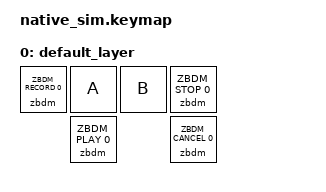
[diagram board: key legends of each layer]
/*
 * Copyright (c) 2026 The ZMK Behavior Dynamic Macro Contributors
 *
 * SPDX-License-Identifier: MIT
 */

#include <dt-bindings/zmk/keys.h>
#include <behaviors.dtsi>
#include <behaviors/zbdm.dtsi>
#include <dt-bindings/zmk/kscan_mock.h>
#include <dt-bindings/zmk/zbdm.h>

/ {
    keymap {
        compatible = "zmk,keymap";

        default_layer {
            bindings = <&zbdm ZBDM_RECORD 0 &kp A &kp B &zbdm ZBDM_STOP 0
                        &zbdm ZBDM_PLAY 0 &zbdm ZBDM_CANCEL 0>;
        };
    };
};

&kscan {
    rows = <1>;
    columns = <6>;
    events = <
        ZMK_MOCK_PRESS(0,0,10) ZMK_MOCK_RELEASE(0,0,20)
        ZMK_MOCK_PRESS(0,1,30)
        ZMK_MOCK_PRESS(0,2,40) ZMK_MOCK_RELEASE(0,2,50)
        ZMK_MOCK_PRESS(0,3,60) ZMK_MOCK_RELEASE(0,3,70)
        ZMK_MOCK_RELEASE(0,1,80)
        ZMK_MOCK_PRESS(0,4,90) ZMK_MOCK_RELEASE(0,4,100)
        ZMK_MOCK_PRESS(0,5,110) ZMK_MOCK_RELEASE(0,5,120)
    >;
};
